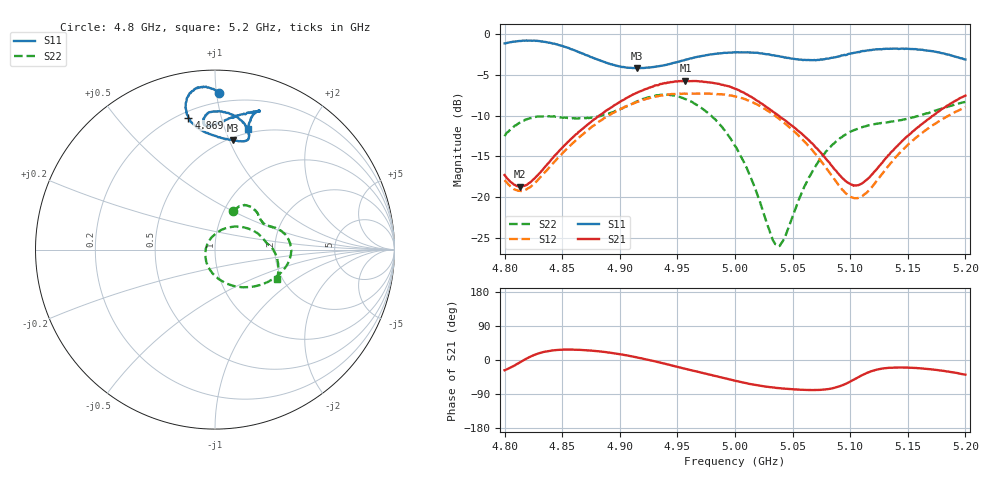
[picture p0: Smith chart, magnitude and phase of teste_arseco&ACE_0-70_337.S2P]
! Network Analyzer HP8722D
! Hewlett-Packard
! Data name: Linha & Wilkinson
! Saver's name: Rodrigo Anjos
! Comments: Teste da utilização de aquisição
! continua pelo VNA HP8722D
! Time and date: 8/5/2025 15:34
!  Frequency  S11  S21  S12  S22
# HZ  S  MA R 50
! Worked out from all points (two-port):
!   401 points, 4.8 GHz to 5.2 GHz, reference 50 ohm
!   highest |S21| = -5.74 dB at 4.957 GHz (marker M1); lowest = -18.7 dB at 4.813 GHz (marker M2)
!   |S21| within 3 dB of the highest: 4.895 GHz to 5.025 GHz (129.8 MHz wide, 2.62 % of centre); 5.184896 GHz to end of sweep
!   lowest |S11| = -4.2 dB at 4.915 GHz (marker M3), VSWR 4.21, Z = 26.3 + j51.6 ohm
!   |S11| at or under -10 dB: nowhere
!   |S22| runs from -26.0 to -7.4 dB; largest |S21 - S12| = 0.89
!   S11 on the Smith chart (normalised r, x): 4.8 GHz: 0.14, +1.02; 4.869 GHz: 0.24, +0.79; 5.2 GHz: 0.46, +1.20
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4.8e9  0.8736 88.5  0.1369 -27.0  0.1274 100.5  0.2365 64.7
4.813e9  0.904 92.3  0.1164 -6.7  0.1096 118.0  0.2858 59.0
4.824e9  0.9068 95.3  0.1268 11.2  0.1184 134.6  0.3062 52.1
4.845e9  0.8616 100.3  0.1843 26.2  0.1704 150.2  0.3117 39.6
4.867e9  0.7589 101.4  0.2601 26.3  0.2399 153.6  0.3052 30.4
4.869e9  0.7504 101.4  0.2675 26.0  0.2472 153.4  0.3052 29.8
4.915e9  0.6164 80.6  0.4363 6.8  0.3832 139.9  0.385 15.3
4.934e9  0.6341 73.7  0.4877 -6.2  0.4179 129.5  0.4211 3.0
4.957e9  0.6946 74.8  0.5166 -23.3  0.4296 115.0  0.399 -16.2
4.981e9  0.7508 81.2  0.5006 -40.9  0.4304 99.7  0.3073 -41.2
5e9  0.771 87.5  0.4613 -54.6  0.4155 86.3  0.2065 -68.8
5.019e9  0.7657 92.3  0.3905 -66.6  0.3702 73.4  0.1058 -109.5
5.032e9  0.7394 94.6  0.3387 -72.0  0.3252 66.3  0.05697 -161.1
5.037e9  0.7312 95.0  0.3194 -73.9  0.3066 64.1  0.05034 166.8
5.043e9  0.7161 95.1  0.2971 -75.6  0.2848 61.8  0.05645 129.0
5.067e9  0.6898 92.8  0.214 -79.2  0.1948 57.9  0.1432 59.1
5.083e9  0.711 87.8  0.1589 -75.6  0.139 63.0  0.2041 37.1
5.103e9  0.764 79.6  0.1177 -52.1  0.09908 90.3  0.2568 19.8
5.115e9  0.7926 75.3  0.1293 -33.4  0.108 111.4  0.2747 13.1
5.134e9  0.8089 72.4  0.183 -20.5  0.1582 125.8  0.2896 7.5
5.169e9  0.7879 74.0  0.3051 -24.2  0.268 121.1  0.3298 -1.8
5.2e9  0.6963 74.8  0.4186 -38.7  0.3557 109.0  0.3831 -25.4
